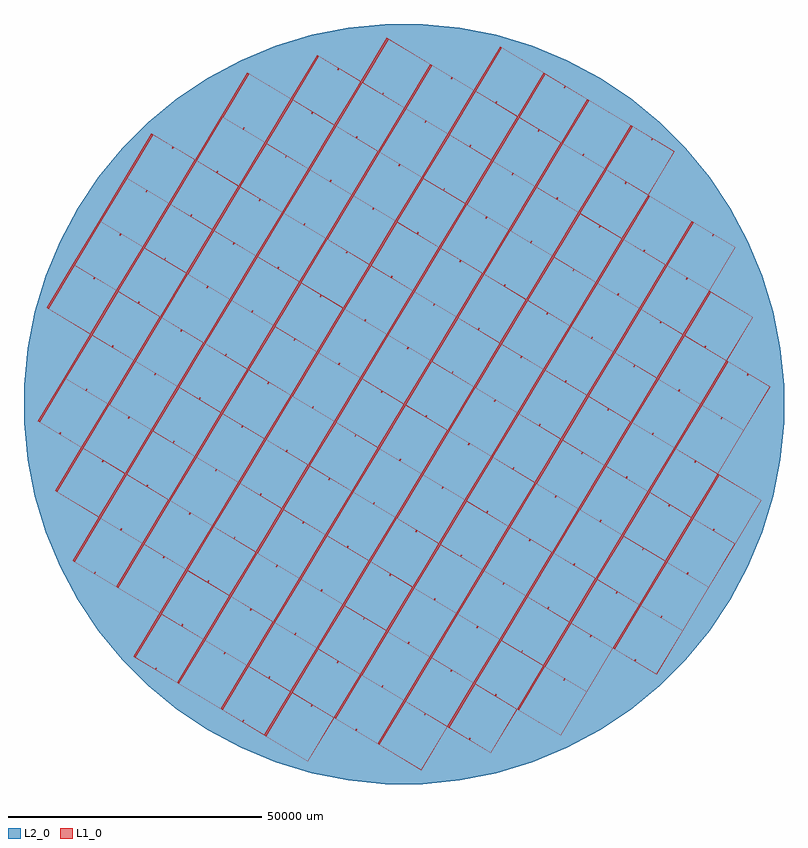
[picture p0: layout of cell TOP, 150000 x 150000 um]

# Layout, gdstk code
from math import pi, radians
import gdstk
lib = gdstk.Library(unit=1e-6, precision=1e-09)
def R(c, l, rs):  # rectangles x0, y0, x1, y1
    for r in rs: c.add(gdstk.rectangle(r[:2], r[2:], *l))
def P(c, l, *ps):  # polygons
    for p in ps: c.add(gdstk.Polygon(p, *l))
L1_0 = (1, 0)
L2_0 = (2, 0)

tilea = lib.new_cell('TileA')
R(tilea, L1_0, [(-5000,-100,-4600,100), (-5000,4600,5000,5000)])
P(tilea, L1_0, [(-5015,-5015),(-5015,5000),(-5000,5000),(-5000,-5000),(5000,-5000),(5000,5000),(-5015,5000),(-5015,5015),(5015,5015),(5015,-5015)])

tileb = lib.new_cell('TileB')
R(tileb, L1_0, [(4600,-100,5000,100), (-5000,4600,5000,5000)])
P(tileb, L1_0, [(-5015,-5015),(-5015,5000),(-5000,5000),(-5000,-5000),(5000,-5000),(5000,5000),(-5015,5000),(-5015,5015),(5015,5015),(5015,-5015)])

top = lib.new_cell('TOP')
P(top, L2_0, [(-3683.783,-74999.879),(-11017.326,-74277.588),(-18244.76,-72839.962),(-25296.48,-70700.846),(-32104.573,-67880.842),(-38603.475,-64407.106),(-44730.598,-60313.094),(-50426.933,-55638.232),(-55637.622,-50427.543),(-60312.484,-44731.208),(-64406.496,-38604.085),(-67880.232,-32105.183),(-70700.236,-25297.09),(-72839.352,-18245.37),(-74276.978,-11017.936),(-74999.269,-3684.393),(-74999.269,3684.635),(-74276.978,11018.178),(-72839.352,18245.612),(-70700.236,25297.332),(-67880.232,32105.425),(-64406.496,38604.327),(-60312.484,44731.45),(-55637.622,50427.785),(-50426.933,55638.474),(-44730.598,60313.336),(-38603.475,64407.348),(-32104.573,67881.084),(-25296.48,70701.088),(-18244.76,72840.204),(-11017.326,74277.83),(-3683.783,75000.121),(3685.245,75000.121),(11018.788,74277.83),(18246.222,72840.204),(25297.942,70701.088),(32106.035,67881.084),(38604.937,64407.348),(44732.06,60313.336),(50428.395,55638.474),(55639.084,50427.785),(60313.946,44731.45),(64407.958,38604.327),(67881.694,32105.425),(70701.698,25297.332),(72840.814,18245.612),(74278.44,11018.178),(75000.731,3684.635),(75000.731,-3684.393),(74278.44,-11017.936),(72840.814,-18245.37),(70701.698,-25297.09),(67881.694,-32105.183),(64407.958,-38604.085),(60313.946,-44731.208),(55639.084,-50427.543),(50428.395,-55638.232),(44732.06,-60313.094),(38604.937,-64407.106),(32106.035,-67880.842),(25297.942,-70700.846),(18246.222,-72839.962),(11018.788,-74277.588),(3685.245,-74999.879)])
top.add(gdstk.Reference(tilea, (51602.427,-1764.482), rotation=radians(58.987)))
top.add(gdstk.Reference(tilea, (56770.209,6831.734), rotation=radians(58.987)))
top.add(gdstk.Reference(tilea, (-1764.482,-51602.427), rotation=radians(58.987)))
top.add(gdstk.Reference(tilea, (3403.301,-43006.211), rotation=radians(58.987)))
top.add(gdstk.Reference(tilea, (29242.213,-25.133), rotation=radians(58.987)))
top.add(gdstk.Reference(tilea, (-3453.566,-15478.215), rotation=radians(58.987)))
top.add(gdstk.Reference(tilea, (1714.217,-6881.999), rotation=radians(58.987)))
top.add(gdstk.Reference(tilea, (6881.999,1714.217), rotation=radians(58.987)))
top.add(gdstk.Reference(tilea, (-20645.997,-5142.65), rotation=radians(58.987)))
top.add(gdstk.Reference(tilea, (-15478.215,3453.566), rotation=radians(58.987)))
top.add(gdstk.Reference(tilea, (-5142.65,20645.997), rotation=radians(58.987)))
top.add(gdstk.Reference(tilea, (25.133,29242.213), rotation=radians(58.987)))
top.add(gdstk.Reference(tilea, (5192.915,37838.429), rotation=radians(58.987)))
top.add(gdstk.Reference(tilea, (-43006.211,-3403.301), rotation=radians(58.987)))
top.add(gdstk.Reference(tilea, (-37838.429,5192.915), rotation=radians(58.987)))
top.add(gdstk.Reference(tilea, (-6831.734,56770.209), rotation=radians(58.987)))
top.add(gdstk.Reference(tilea, (-1663.952,65366.425), rotation=radians(58.987)))
top.add(gdstk.Reference(tilea, (-65366.425,-1663.952), rotation=radians(58.987)))
top.add(gdstk.Reference(tileb, (65366.425,1663.952), rotation=radians(58.987)))
top.add(gdstk.Reference(tileb, (1663.952,-65366.425), rotation=radians(58.987)))
top.add(gdstk.Reference(tileb, (6831.734,-56770.209), rotation=radians(58.987)))
top.add(gdstk.Reference(tileb, (37838.429,-5192.915), rotation=radians(58.987)))
top.add(gdstk.Reference(tileb, (43006.211,3403.301), rotation=radians(58.987)))
top.add(gdstk.Reference(tileb, (-5192.915,-37838.429), rotation=radians(58.987)))
top.add(gdstk.Reference(tileb, (-25.133,-29242.213), rotation=radians(58.987)))
top.add(gdstk.Reference(tileb, (5142.65,-20645.997), rotation=radians(58.987)))
top.add(gdstk.Reference(tileb, (15478.215,-3453.566), rotation=radians(58.987)))
top.add(gdstk.Reference(tileb, (20645.997,5142.65), rotation=radians(58.987)))
top.add(gdstk.Reference(tileb, (-6881.999,-1714.217), rotation=radians(58.987)))
top.add(gdstk.Reference(tileb, (-1714.217,6881.999), rotation=radians(58.987)))
top.add(gdstk.Reference(tileb, (3453.566,15478.215), rotation=radians(58.987)))
top.add(gdstk.Reference(tileb, (-29242.213,25.133), rotation=radians(58.987)))
top.add(gdstk.Reference(tileb, (-3403.301,43006.211), rotation=radians(58.987)))
top.add(gdstk.Reference(tileb, (1764.482,51602.427), rotation=radians(58.987)))
top.add(gdstk.Reference(tileb, (-56770.209,-6831.734), rotation=radians(58.987)))
top.add(gdstk.Reference(tileb, (-51602.427,1764.482), rotation=radians(58.987)))
top.add(gdstk.Reference(tilea, (34409.995,8571.083), rotation=radians(58.987)))
top.add(gdstk.Reference(tileb, (48173.994,11999.516), rotation=radians(58.987)))
top.add(gdstk.Reference(tileb, (53341.776,20595.732), rotation=radians(58.987)))
top.add(gdstk.Reference(tileb, (58509.558,29191.948), rotation=radians(58.987)))
top.add(gdstk.Reference(tilea, (39577.778,17167.299), rotation=radians(58.987)))
top.add(gdstk.Reference(tilea, (10360.697,46434.644), rotation=radians(58.987)))
top.add(gdstk.Reference(tilea, (15528.48,55030.86), rotation=radians(58.987)))
top.add(gdstk.Reference(tilea, (20696.262,63627.076), rotation=radians(58.987)))
top.add(gdstk.Reference(tilea, (12049.782,10310.432), rotation=radians(58.987)))
top.add(gdstk.Reference(tileb, (25813.78,13738.866), rotation=radians(58.987)))
top.add(gdstk.Reference(tileb, (30981.562,22335.081), rotation=radians(58.987)))
top.add(gdstk.Reference(tileb, (36149.345,30931.297), rotation=radians(58.987)))
top.add(gdstk.Reference(tileb, (41317.127,39527.513), rotation=radians(58.987)))
top.add(gdstk.Reference(tileb, (46484.909,48123.728), rotation=radians(58.987)))
top.add(gdstk.Reference(tilea, (17217.564,18906.648), rotation=radians(58.987)))
top.add(gdstk.Reference(tilea, (22385.346,27502.864), rotation=radians(58.987)))
top.add(gdstk.Reference(tilea, (27553.129,36099.079), rotation=radians(58.987)))
top.add(gdstk.Reference(tileb, (8621.348,24074.431), rotation=radians(58.987)))
top.add(gdstk.Reference(tileb, (13789.131,32670.646), rotation=radians(58.987)))
top.add(gdstk.Reference(tileb, (18956.913,41266.862), rotation=radians(58.987)))
top.add(gdstk.Reference(tileb, (24124.696,49863.078), rotation=radians(58.987)))
top.add(gdstk.Reference(tileb, (29292.478,58459.293), rotation=radians(58.987)))
top.add(gdstk.Reference(tilea, (32720.911,44695.295), rotation=radians(58.987)))
top.add(gdstk.Reference(tilea, (37888.694,53291.511), rotation=radians(58.987)))
top.add(gdstk.Reference(tilea, (44745.56,25763.515), rotation=radians(58.987)))
top.add(gdstk.Reference(tileb, (6932.264,60198.643), rotation=radians(58.987)))
top.add(gdstk.Reference(tilea, (49913.343,34359.73), rotation=radians(58.987)))
top.add(gdstk.Reference(tilea, (61937.992,15427.95), rotation=radians(58.987)))
top.add(gdstk.Reference(tilea, (-60198.643,6932.264), rotation=radians(58.987)))
top.add(gdstk.Reference(tilea, (-55030.86,15528.48), rotation=radians(58.987)))
top.add(gdstk.Reference(tilea, (-49863.078,24124.696), rotation=radians(58.987)))
top.add(gdstk.Reference(tilea, (-44695.295,32720.911), rotation=radians(58.987)))
top.add(gdstk.Reference(tilea, (-39527.513,41317.127), rotation=radians(58.987)))
top.add(gdstk.Reference(tilea, (-34359.73,49913.343), rotation=radians(58.987)))
top.add(gdstk.Reference(tilea, (-29191.948,58509.558), rotation=radians(58.987)))
top.add(gdstk.Reference(tilea, (-22335.081,30981.562), rotation=radians(58.987)))
top.add(gdstk.Reference(tileb, (-24074.431,8621.348), rotation=radians(58.987)))
top.add(gdstk.Reference(tileb, (-18906.648,17217.564), rotation=radians(58.987)))
top.add(gdstk.Reference(tileb, (-13738.866,25813.78), rotation=radians(58.987)))
top.add(gdstk.Reference(tileb, (-8571.083,34409.995), rotation=radians(58.987)))
top.add(gdstk.Reference(tilea, (-17167.299,39577.778), rotation=radians(58.987)))
top.add(gdstk.Reference(tilea, (-11999.516,48173.994), rotation=radians(58.987)))
top.add(gdstk.Reference(tilea, (-10310.432,12049.782), rotation=radians(58.987)))
top.add(gdstk.Reference(tilea, (-32670.646,13789.131), rotation=radians(58.987)))
top.add(gdstk.Reference(tilea, (-27502.864,22385.346), rotation=radians(58.987)))
top.add(gdstk.Reference(tileb, (-46434.644,10360.697), rotation=radians(58.987)))
top.add(gdstk.Reference(tileb, (-41266.862,18956.913), rotation=radians(58.987)))
top.add(gdstk.Reference(tileb, (-36099.079,27553.129), rotation=radians(58.987)))
top.add(gdstk.Reference(tileb, (-30931.297,36149.345), rotation=radians(58.987)))
top.add(gdstk.Reference(tileb, (-25763.515,44745.56), rotation=radians(58.987)))
top.add(gdstk.Reference(tileb, (-20595.732,53341.776), rotation=radians(58.987)))
top.add(gdstk.Reference(tileb, (-15427.95,61937.992), rotation=radians(58.987)))
top.add(gdstk.Reference(tileb, (-63627.076,20696.262), rotation=radians(58.987)))
top.add(gdstk.Reference(tileb, (-58459.293,29292.478), rotation=radians(58.987)))
top.add(gdstk.Reference(tileb, (-53291.511,37888.694), rotation=radians(58.987)))
top.add(gdstk.Reference(tileb, (-48123.728,46484.909), rotation=radians(58.987)))
top.add(gdstk.Reference(tileb, (-10360.697,-46434.644), rotation=radians(58.987)))
top.add(gdstk.Reference(tilea, (-58509.558,-29191.948), rotation=radians(58.987)))
top.add(gdstk.Reference(tileb, (-49913.343,-34359.73), rotation=radians(58.987)))
top.add(gdstk.Reference(tileb, (-44745.56,-25763.515), rotation=radians(58.987)))
top.add(gdstk.Reference(tileb, (-39577.778,-17167.299), rotation=radians(58.987)))
top.add(gdstk.Reference(tileb, (-34409.995,-8571.083), rotation=radians(58.987)))
top.add(gdstk.Reference(tilea, (-53341.776,-20595.732), rotation=radians(58.987)))
top.add(gdstk.Reference(tilea, (-48173.994,-11999.516), rotation=radians(58.987)))
top.add(gdstk.Reference(tilea, (-30981.562,-22335.081), rotation=radians(58.987)))
top.add(gdstk.Reference(tilea, (-25813.78,-13738.866), rotation=radians(58.987)))
top.add(gdstk.Reference(tilea, (-18956.913,-41266.862), rotation=radians(58.987)))
top.add(gdstk.Reference(tilea, (-13789.131,-32670.646), rotation=radians(58.987)))
top.add(gdstk.Reference(tilea, (-8621.348,-24074.431), rotation=radians(58.987)))
top.add(gdstk.Reference(tilea, (-6932.264,-60198.643), rotation=radians(58.987)))
top.add(gdstk.Reference(tileb, (-61937.992,-15427.95), rotation=radians(58.987)))
top.add(gdstk.Reference(tilea, (-29292.478,-58459.293), rotation=radians(58.987)))
top.add(gdstk.Reference(tileb, (-37888.694,-53291.511), rotation=radians(58.987)))
top.add(gdstk.Reference(tileb, (-32720.911,-44695.295), rotation=radians(58.987)))
top.add(gdstk.Reference(tileb, (-27553.129,-36099.079), rotation=radians(58.987)))
top.add(gdstk.Reference(tileb, (-22385.346,-27502.864), rotation=radians(58.987)))
top.add(gdstk.Reference(tileb, (-17217.564,-18906.648), rotation=radians(58.987)))
top.add(gdstk.Reference(tileb, (-12049.782,-10310.432), rotation=radians(58.987)))
top.add(gdstk.Reference(tilea, (-24124.696,-49863.078), rotation=radians(58.987)))
top.add(gdstk.Reference(tilea, (-46484.909,-48123.728), rotation=radians(58.987)))
top.add(gdstk.Reference(tilea, (-41317.127,-39527.513), rotation=radians(58.987)))
top.add(gdstk.Reference(tilea, (-36149.345,-30931.297), rotation=radians(58.987)))
top.add(gdstk.Reference(tileb, (-20696.262,-63627.076), rotation=radians(58.987)))
top.add(gdstk.Reference(tileb, (-15528.48,-55030.86), rotation=radians(58.987)))
top.add(gdstk.Reference(tilea, (24074.431,-8621.348), rotation=radians(58.987)))
top.add(gdstk.Reference(tilea, (25763.515,-44745.56), rotation=radians(58.987)))
top.add(gdstk.Reference(tilea, (30931.297,-36149.345), rotation=radians(58.987)))
top.add(gdstk.Reference(tilea, (36099.079,-27553.129), rotation=radians(58.987)))
top.add(gdstk.Reference(tilea, (41266.862,-18956.913), rotation=radians(58.987)))
top.add(gdstk.Reference(tilea, (46434.644,-10360.697), rotation=radians(58.987)))
top.add(gdstk.Reference(tilea, (48123.728,-46484.909), rotation=radians(58.987)))
top.add(gdstk.Reference(tilea, (53291.511,-37888.694), rotation=radians(58.987)))
top.add(gdstk.Reference(tileb, (10310.432,-12049.782), rotation=radians(58.987)))
top.add(gdstk.Reference(tilea, (58459.293,-29292.478), rotation=radians(58.987)))
top.add(gdstk.Reference(tileb, (29191.948,-58509.558), rotation=radians(58.987)))
top.add(gdstk.Reference(tileb, (34359.73,-49913.343), rotation=radians(58.987)))
top.add(gdstk.Reference(tileb, (39527.513,-41317.127), rotation=radians(58.987)))
top.add(gdstk.Reference(tileb, (44695.295,-32720.911), rotation=radians(58.987)))
top.add(gdstk.Reference(tileb, (49863.078,-24124.696), rotation=radians(58.987)))
top.add(gdstk.Reference(tileb, (55030.86,-15528.48), rotation=radians(58.987)))
top.add(gdstk.Reference(tileb, (60198.643,-6932.264), rotation=radians(58.987)))
top.add(gdstk.Reference(tilea, (63627.076,-20696.262), rotation=radians(58.987)))
top.add(gdstk.Reference(tilea, (15427.95,-61937.992), rotation=radians(58.987)))
top.add(gdstk.Reference(tilea, (20595.732,-53341.776), rotation=radians(58.987)))
top.add(gdstk.Reference(tileb, (11999.516,-48173.994), rotation=radians(58.987)))
top.add(gdstk.Reference(tileb, (17167.299,-39577.778), rotation=radians(58.987)))
top.add(gdstk.Reference(tileb, (22335.081,-30981.562), rotation=radians(58.987)))
top.add(gdstk.Reference(tileb, (27502.864,-22385.346), rotation=radians(58.987)))
top.add(gdstk.Reference(tileb, (32670.646,-13789.131), rotation=radians(58.987)))
top.add(gdstk.Reference(tilea, (8571.083,-34409.995), rotation=radians(58.987)))
top.add(gdstk.Reference(tilea, (13738.866,-25813.78), rotation=radians(58.987)))
top.add(gdstk.Reference(tilea, (18906.648,-17217.564), rotation=radians(58.987)))

lib.write_gds('TOP.gds')
